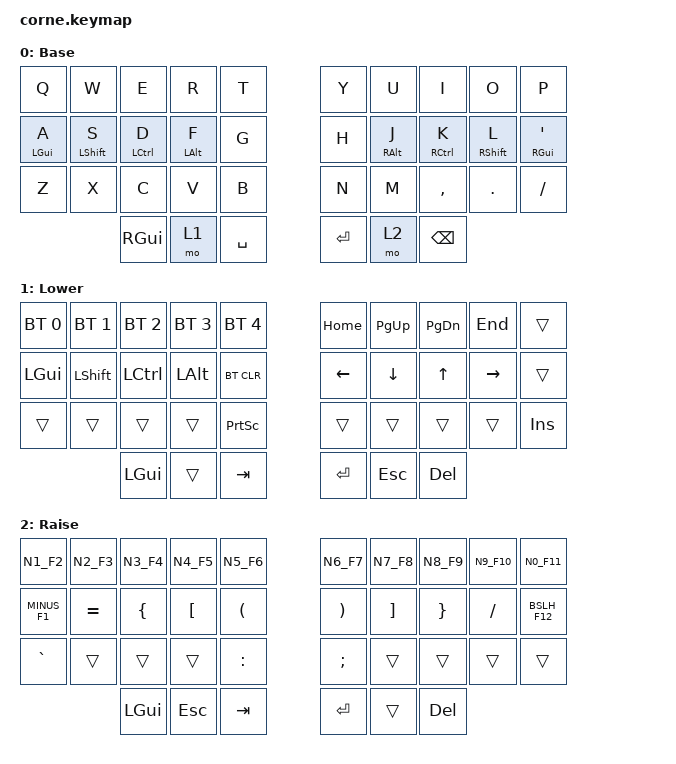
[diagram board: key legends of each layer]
/*
 * Copyright (c) 2020 The ZMK Contributors
 *
 * SPDX-License-Identifier: MIT
 */

#include <behaviors.dtsi>
#include <dt-bindings/zmk/keys.h>
#include <dt-bindings/zmk/bt.h>

/ {
    chosen {
      zmk,matrix_transform = &five_column_transform;
    };

    behaviors {
        MINUS_F1: f1_key {
            compatible = "zmk,behavior-mod-morph";
            bindings = <&kp MINUS>, <&kp F1>;
            mods = <(MOD_LALT|MOD_RALT)>;
            #binding-cells = <0>;
        };
        N1_F2: f2_key {
            compatible = "zmk,behavior-mod-morph";
            bindings = <&kp N1>, <&kp F2>;
            mods = <(MOD_LALT|MOD_RALT)>;
            #binding-cells = <0>;
        };
        N2_F3: f3_key {
            compatible = "zmk,behavior-mod-morph";
            bindings = <&kp N2>, <&kp F3>;
            mods = <(MOD_LALT|MOD_RALT)>;
            #binding-cells = <0>;
        };
        N3_F4: f4_key {
            compatible = "zmk,behavior-mod-morph";
            bindings = <&kp N3>, <&kp F4>;
            mods = <(MOD_LALT|MOD_RALT)>;
            #binding-cells = <0>;
        };
        N4_F5: f5_key {
            compatible = "zmk,behavior-mod-morph";
            bindings = <&kp N4>, <&kp F5>;
            mods = <(MOD_LALT|MOD_RALT)>;
            #binding-cells = <0>;
        };
        N5_F6: f6_key {
            compatible = "zmk,behavior-mod-morph";
            bindings = <&kp N5>, <&kp F6>;
            mods = <(MOD_LALT|MOD_RALT)>;
            #binding-cells = <0>;
        };
        N6_F7: f7_key {
            compatible = "zmk,behavior-mod-morph";
            bindings = <&kp N6>, <&kp F7>;
            mods = <(MOD_LALT|MOD_RALT)>;
            #binding-cells = <0>;
        };
        N7_F8: f8_key {
            compatible = "zmk,behavior-mod-morph";
            bindings = <&kp N7>, <&kp F8>;
            mods = <(MOD_LALT|MOD_RALT)>;
            #binding-cells = <0>;
        };
        N8_F9: f9_key {
            compatible = "zmk,behavior-mod-morph";
            bindings = <&kp N8>, <&kp F9>;
            mods = <(MOD_LALT|MOD_RALT)>;
            #binding-cells = <0>;
        };
        N9_F10: f10_key {
            compatible = "zmk,behavior-mod-morph";
            bindings = <&kp N9>, <&kp F10>;
            mods = <(MOD_LALT|MOD_RALT)>;
            #binding-cells = <0>;
        };
        N0_F11: f11_key {
            compatible = "zmk,behavior-mod-morph";
            bindings = <&kp N0>, <&kp F11>;
            mods = <(MOD_LALT|MOD_RALT)>;
            #binding-cells = <0>;
        };
        BSLH_F12: f12_key {
            compatible = "zmk,behavior-mod-morph";
            bindings = <&kp BSLH>, <&kp F12>;
            mods = <(MOD_LALT|MOD_RALT)>;
            #binding-cells = <0>;
        };
    };


        keymap {
                compatible = "zmk,keymap";

                default_layer {
// -------------------------------------------------------------------------------------------------------------
// |  Q  |  W    |  E   |  R  |  T  |                                       |  Y  |  U   |  I   |  O   | P     |
// |  A  |  S    |  D   |  F  |  G  |                                       |  H  |  J   |  K   |  L   | '     |
// |  Z  |  X    |  C   |  V  |  B  |                                       |  N  |  M   | COMA |DOT   | /     |
//               | GUI  | LWR | SPC |                                       | ENT | RSE  | BSPC |
                        display-name = "Base";
                        bindings = <
   &kp Q      &kp W        &kp E       &kp R      &kp T                     &kp Y   &kp U            &kp I       &kp O        &kp P
   &mt LGUI A &mt LSHIFT S &mt LCTRL D &mt LALT F &kp G                     &kp H   &mt RALT J       &mt RCTRL K &mt RSHIFT L &mt RGUI SQT
   &kp Z      &kp X        &kp C       &kp V      &kp B                     &kp N   &kp M            &kp COMMA   &kp DOT     &kp SLASH
               &kp RGUI &mo 1 &kp SPACE                                     &kp RET &mo 2            &kp BSPC
                        >;
                };

                lower_layer {
// ---------------------------------------------------------------------------------------------------------------------
// | BTCLR | BT1 | BT2 | BT3 | BT4 |                                       | HOME | PAGE_DOWN | PAGE_UP | END |        |
// |       |     |     |     |     |                                       | LFT  | DOWN      | UP      | RGT |        |
// |       |     |     |     |     |                                       |      |           |         |     | INSERT |
//               | GUI |     | TAB |                                       | ENT  | ESC       | DEL     |
                        display-name = "Lower";
                        bindings = <
   &bt BT_SEL 0 &bt BT_SEL 1 &bt BT_SEL 2 &bt BT_SEL 3 &bt BT_SEL 4        &kp HOME   &kp PG_UP  &kp PG_DN &kp END   &trans
   &kp LGUI     &kp LSHIFT   &kp LCTRL    &kp LALT     &bt BT_CLR              &kp LEFT   &kp DOWN   &kp UP    &kp RIGHT &trans 
   &trans       &trans       &trans       &trans       &kp PSCRN           &trans     &trans     &trans    &trans    &kp INS 
                             &kp LGUI     &trans       &kp TAB             &kp RET    &kp ESC    &kp DEL
                        >;
                };

                kaise_layer {
// ---------------------------------------------------------------------------------------------------------
// | 1! |  2@ |  3# |  4$ |  5% | some symbols are repeating (SHIFT)       |  6^ |  7& |  8* |  9(  |  0)  |
// | -_ |  =+ |  {  |  [  |  (  | should be reworked                       |  )  |  ]  |  }  |  /?  |  \|  |
// | `~ |     |     |     |  :  |                                          |  ;  |     |     |      |      |
//            | GUI | ESC | TAB |                                          | ENT |     | DEL |
                        display-name = "Raise";
                        bindings = <

   &N1_F2    &N2_F3    &N3_F4    &N4_F5    &N5_F6                          &N6_F7    &N7_F8    &N8_F9   &N9_F10  &N0_F11
   &MINUS_F1 &kp EQUAL &kp LBRC  &kp LBKT  &kp LPAR                        &kp RPAR  &kp RBKT  &kp RBRC &kp FSLH &BSLH_F12
   &kp GRAVE &trans    &trans    &trans    &kp COLON                       &kp SEMI  &trans    &trans   &trans   &trans
                       &kp LGUI  &kp ESC   &kp TAB                         &kp RET   &trans    &kp DEL
                        >;
                };
        };
};
